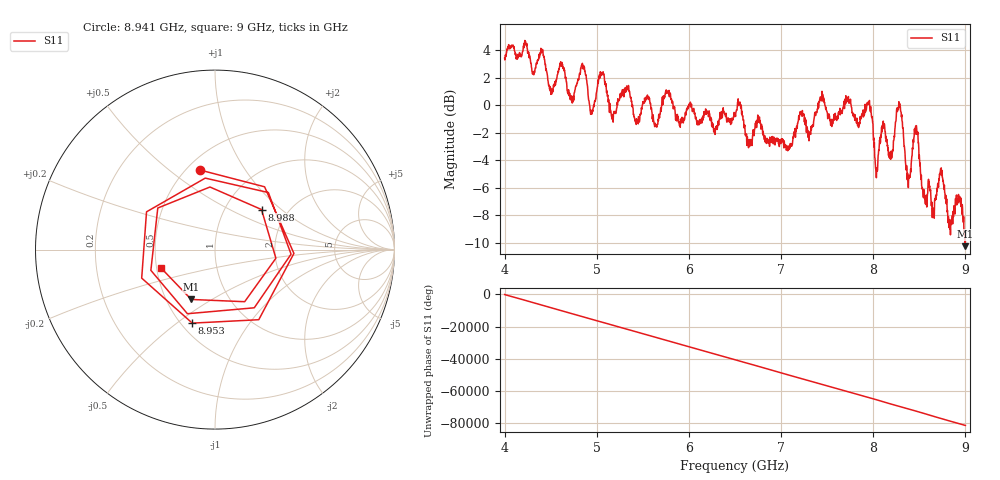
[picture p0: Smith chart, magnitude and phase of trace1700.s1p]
! Created with skrf 1.8.0 (http://scikit-rf.org).
# Hz S RI R 50.0
!freq ReS11 ImS11
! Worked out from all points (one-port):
!   1601 points, 4 GHz to 9 GHz, reference 50 ohm
!   lowest |S11| = -10.2 dB at 8.997 GHz (marker M1), VSWR 1.89, Z = 33.3 - j20.4 ohm
!   |S11| at or under -10 dB: 8.995999 GHz to 8.99924 GHz (3.241 MHz wide, 0.036 % of centre)
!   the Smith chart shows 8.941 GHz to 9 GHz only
!   S11 on the Smith chart (normalised r, x): 8.941 GHz: 0.58, +0.65; 8.953 GHz: 0.57, -0.57; 8.988 GHz: 1.47, +0.75; 9 GHz: 0.53, -0.12
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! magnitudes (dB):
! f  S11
! 4 GHz  3.4
! 4.406 GHz  4.0
! 4.503 GHz  0.8
! 4.625 GHz  2.8
! 4.725 GHz  0.3
! 4.856 GHz  2.9
! 4.944 GHz  -0.5
! 5.053 GHz  2.3
! 5.159 GHz  -0.8
! 5.25 GHz  0.6
! 5.875 GHz  -0.7
! 6.5 GHz  -0.8
! 7.125 GHz  -2.7
! 7.75 GHz  0.1
! 7.956 GHz  0.3
! 8.041 GHz  -4.8
! 8.106 GHz  -1.4
! 8.191 GHz  -3.9
! 8.278 GHz  0.3
! 8.375 GHz  -5.2
! 8.466 GHz  -1.5
! 8.559 GHz  -6.7
! 8.738 GHz  -4.6
! 8.941 GHz  -6.9
! 8.953 GHz  -7.4
! 8.988 GHz  -9.3
! 8.997 GHz  -10.2
! 9 GHz  -9.9
